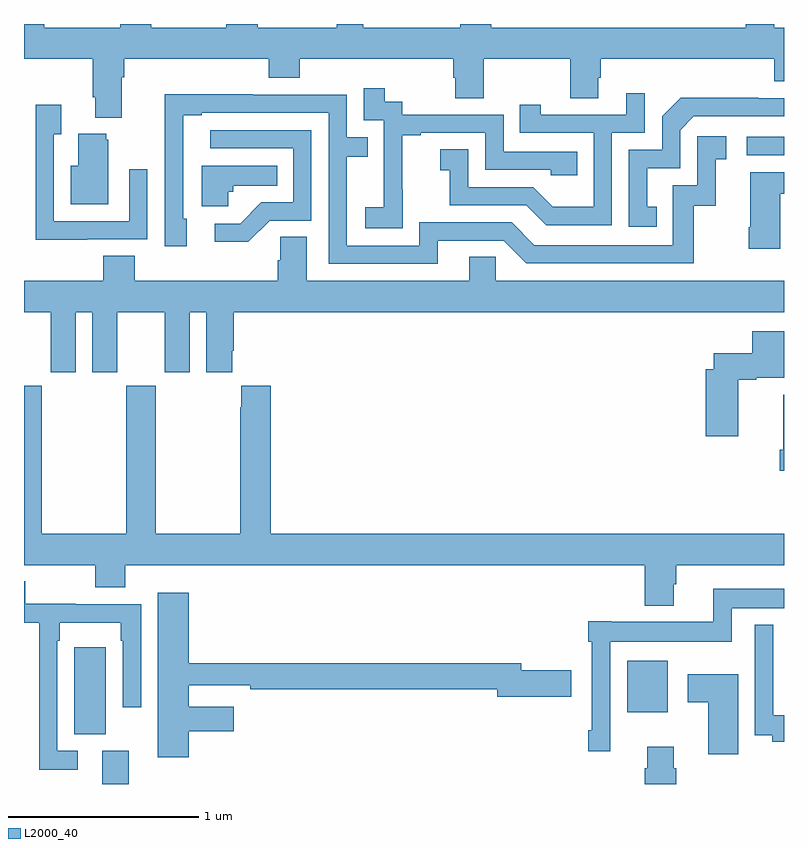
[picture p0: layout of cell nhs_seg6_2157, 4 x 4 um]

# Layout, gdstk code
import gdstk
lib = gdstk.Library(unit=1e-6, precision=1e-09)
def R(c, l, rs):  # rectangles x0, y0, x1, y1
    for r in rs: c.add(gdstk.rectangle(r[:2], r[2:], *l))
def P(c, l, *ps):  # polygons
    for p in ps: c.add(gdstk.Polygon(p, *l))
L2000_40 = (2000, 40)

nhs_seg6_2157 = lib.new_cell('nhs_seg6_2157')
R(nhs_seg6_2157, L2000_40, [(239.411,963.5,239.551,963.676), (239.264,963.761,239.431,964.219), (242.174,963.878,242.389,964.15), (242.805,966.81,243,966.906)])
P(nhs_seg6_2157, L2000_40, [(239.515,967.22),(239.528,967.22),(239.528,967.316),(240.287,967.316),(240.287,967.217),(240.452,967.217),(240.452,967.316),(241.259,967.316),(241.259,967.218),(241.271,967.218),(241.271,967.108),(241.419,967.108),(241.419,967.316),(241.876,967.316),(241.876,967.108),(242.023,967.108),(242.023,967.218),(242.036,967.218),(242.036,967.316),(242.948,967.316),(242.948,967.199),(243,967.199),(243,967.48),(242.949,967.48),(242.949,967.5),(242.798,967.5),(242.798,967.48),(241.459,967.48),(241.459,967.5),(241.295,967.5),(241.295,967.48),(240.785,967.48),(240.785,967.5),(240.647,967.5),(240.647,967.48),(240.229,967.48),(240.229,967.5),(240.065,967.5),(240.065,967.48),(239.671,967.48),(239.671,967.5),(239.507,967.5),(239.507,967.48),(239.107,967.48),(239.107,967.5),(239,967.5),(239,967.316),(239.363,967.316),(239.363,967.114),(239.375,967.114),(239.375,967.007),(239.515,967.007)],
  [(240.993,966.631),(240.992,966.631),(240.992,966.915),(241.087,966.915),(241.087,966.927),(241.428,966.927),(241.428,966.732),(241.773,966.732),(241.773,966.705),(241.913,966.705),(241.913,966.828),(241.524,966.828),(241.524,967.023),(240.99,967.023),(240.99,967.092),(240.898,967.092),(240.898,967.162),(240.789,967.162),(240.789,966.993),(240.894,966.993),(240.894,966.764),(240.893,966.764),(240.893,966.535),(240.795,966.535),(240.795,966.425),(240.993,966.425)],
  [(242.094,966.927),(242.268,966.927),(242.268,967.135),(242.171,967.135),(242.171,967.023),(241.72,967.023),(241.72,967.075),(241.609,967.075),(241.609,966.927),(241.998,966.927),(241.998,966.538),(241.784,966.538),(241.68,966.642),(241.338,966.642),(241.338,966.841),(241.191,966.841),(241.191,966.731),(241.24,966.731),(241.24,966.546),(241.643,966.546),(241.748,966.441),(242.094,966.441)],
  [(241.177,966.36),(241.524,966.36),(241.644,966.24),(242.524,966.24),(242.524,966.543),(242.642,966.543),(242.642,966.789),(242.695,966.789),(242.695,966.91),(242.544,966.91),(242.544,966.651),(242.415,966.651),(242.415,966.336),(241.686,966.336),(241.566,966.456),(241.08,966.456),(241.08,966.333),(240.699,966.333),(240.699,966.802),(240.809,966.802),(240.809,966.903),(240.699,966.903),(240.699,967.128),(240.203,967.128),(240.203,967.13),(239.74,967.13),(239.74,966.823),(239.742,966.823),(239.742,966.33),(239.857,966.33),(239.857,966.474),(239.838,966.474),(239.838,967.02),(239.935,967.02),(239.935,967.032),(240.603,967.032),(240.603,966.237),(241.177,966.237)],
  [(242.33,966.537),(242.281,966.537),(242.281,966.741),(242.454,966.741),(242.454,966.942),(242.526,967.014),(243,967.014),(243,967.11),(242.864,967.11),(242.864,967.112),(242.456,967.112),(242.358,967.014),(242.358,966.837),(242.184,966.837),(242.184,966.432),(242.33,966.432)],
  [(239.333,966.366),(239.649,966.366),(239.649,966.736),(239.553,966.736),(239.553,966.462),(239.157,966.462),(239.157,966.919),(239.197,966.919),(239.197,967.075),(239.061,967.075),(239.061,966.365),(239.333,966.365)],
  [(240.294,966.465),(240.513,966.465),(240.513,966.942),(239.979,966.942),(239.979,966.846),(240.417,966.846),(240.417,966.561),(240.248,966.561),(240.137,966.45),(240.003,966.45),(240.003,966.353),(240.181,966.353)],
  [(239.443,966.891),(239.432,966.891),(239.432,966.922),(239.285,966.922),(239.285,966.754),(239.246,966.754),(239.246,966.551),(239.443,966.551)],
  [(240.075,966.618),(240.102,966.618),(240.102,966.65),(240.332,966.65),(240.332,966.754),(239.936,966.754),(239.936,966.542),(240.075,966.542)],
  [(242.98,966.607),(243,966.607),(243,966.721),(242.822,966.721),(242.822,966.43),(242.815,966.43),(242.815,966.318),(242.98,966.318)],
  [(239.272,965.984),(239.36,965.984),(239.36,965.667),(239.491,965.667),(239.491,965.984),(239.741,965.984),(239.741,965.667),(239.872,965.667),(239.872,965.984),(239.96,965.984),(239.96,965.667),(240.097,965.667),(240.097,965.779),(240.104,965.779),(240.104,965.984),(243,965.984),(243,966.148),(241.482,966.148),(241.482,966.275),(241.343,966.275),(241.343,966.148),(240.487,966.148),(240.487,966.38),(240.348,966.38),(240.348,966.257),(240.335,966.257),(240.335,966.148),(239.582,966.148),(239.582,966.281),(239.417,966.281),(239.417,966.148),(239,966.148),(239,965.984),(239.141,965.984),(239.141,965.667),(239.272,965.667)],
  [(242.758,965.627),(242.854,965.627),(242.854,965.639),(243,965.639),(243,965.884),(242.834,965.884),(242.834,965.767),(242.63,965.767),(242.63,965.683),(242.588,965.683),(242.588,965.331),(242.758,965.331)],
  [(242.267,964.439),(242.419,964.439),(242.419,964.551),(242.432,964.551),(242.432,964.652),(243,964.652),(243,964.816),(240.299,964.816),(240.299,965.596),(240.143,965.596),(240.143,965.483),(240.139,965.483),(240.139,964.816),(239.694,964.816),(239.694,965.596),(239.539,965.596),(239.539,964.816),(239.094,964.816),(239.094,965.596),(239,965.596),(239,964.652),(239.374,964.652),(239.374,964.535),(239.534,964.535),(239.534,964.652),(242.267,964.652)],
  [(243,965.548),(242.995,965.548),(242.995,965.26),(242.977,965.26),(242.977,965.148),(243,965.148)],
  [(239.284,963.676),(239.175,963.676),(239.175,964.253),(239.188,964.253),(239.188,964.349),(239.508,964.349),(239.508,964.253),(239.52,964.253),(239.52,963.903),(239.616,963.903),(239.616,964.446),(239.272,964.446),(239.272,964.448),(239.007,964.448),(239.007,964.567),(239,964.567),(239,964.35),(239.079,964.35),(239.079,963.575),(239.284,963.575)],
  [(242.085,964.25),(242.724,964.25),(242.724,964.424),(243,964.424),(243,964.528),(242.627,964.528),(242.627,964.354),(242.092,964.354),(242.092,964.357),(241.969,964.357),(241.969,964.25),(241.989,964.25),(241.989,963.784),(241.969,963.784),(241.969,963.672),(242.085,963.672)],
  [(239.867,963.778),(240.103,963.778),(240.103,963.907),(239.867,963.907),(239.867,964.02),(240.19,964.02),(240.19,964),(241.49,964),(241.49,963.958),(241.879,963.958),(241.879,964.1),(241.618,964.1),(241.618,964.136),(239.867,964.136),(239.867,964.507),(239.705,964.507),(239.705,963.642),(239.867,963.642)],
  [(243,963.862),(242.943,963.862),(242.943,964.339),(242.847,964.339),(242.847,963.756),(242.939,963.756),(242.939,963.722),(243,963.722)],
  [(242.758,964.078),(242.493,964.078),(242.493,963.931),(242.6,963.931),(242.6,963.656),(242.758,963.656)],
  [(242.432,963.582),(242.419,963.582),(242.419,963.697),(242.279,963.697),(242.279,963.582),(242.267,963.582),(242.267,963.5),(242.432,963.5)])

lib.write_gds('nhs_seg6_2157.gds')
